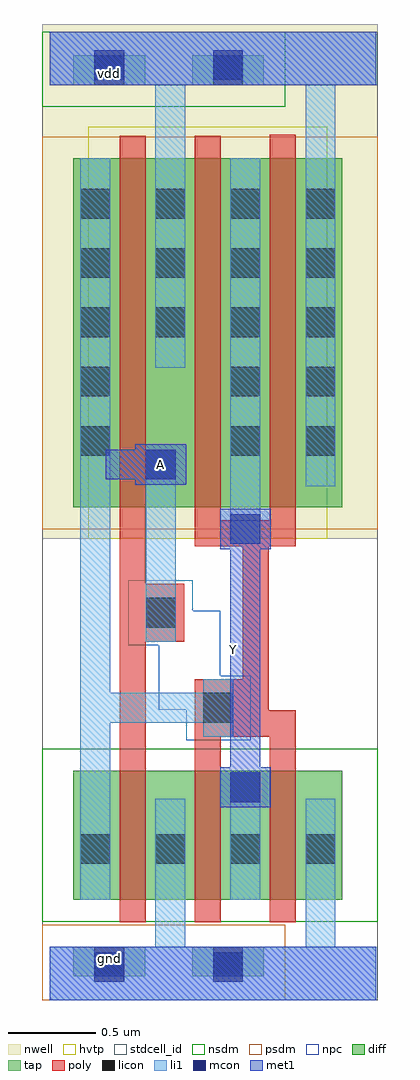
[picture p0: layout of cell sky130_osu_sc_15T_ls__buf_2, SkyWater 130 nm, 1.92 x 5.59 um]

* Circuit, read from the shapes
.subckt sky130_osu_sc_15T_ls__buf_2 A Y gnd vdd
XM1 gnd A n1 gnd sky130_fd_pr__nfet_01v8 w=0.74 l=0.15
XM2 Y n1 gnd gnd sky130_fd_pr__nfet_01v8 w=0.74 l=0.15 m=2
XM3 vdd A n1 vdd sky130_fd_pr__pfet_01v8_hvt w=2 l=0.15
XM4 Y n1 vdd vdd sky130_fd_pr__pfet_01v8_hvt w=2 l=0.15 m=2
.ends

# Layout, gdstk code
import gdstk
lib = gdstk.Library(unit=1e-6, precision=1e-09)
def R(c, l, rs):  # rectangles x0, y0, x1, y1
    for r in rs: c.add(gdstk.rectangle(r[:2], r[2:], *l))
def A(c, l, x, y, w, h, nx, ny, dx, dy):  # array of equal rectangles
    R(c, l, [(x+i*dx, y+j*dy, x+i*dx+w, y+j*dy+h) for i in range(nx) for j in range(ny)])
nwell = (64, 20)
diff = (65, 20)
tap = (65, 44)
poly = (66, 20)
licon = (66, 44)
li1 = (67, 20)
mcon = (67, 44)
met1 = (68, 20)
hvtp = (78, 44)
stdcell_id = (81, 4)
nsdm = (93, 44)
psdm = (94, 20)
npc = (95, 20)

sky130_osu_sc_15t_ls__bu = lib.new_cell('sky130_osu_sc_15T_ls__buf_2')
R(sky130_osu_sc_15t_ls__bu, nwell, [(-0.045,2.645,1.88,5.595)])
R(sky130_osu_sc_15t_ls__bu, diff, [(0.135,0.575,1.675,1.315), (0.135,2.825,1.675,4.825)])
R(sky130_osu_sc_15t_ls__bu, tap, [(0.135,0.135,0.545,0.305), (0.815,0.135,1.225,0.305), (0.135,5.245,0.545,5.415), (0.815,5.245,1.225,5.415)])
R(sky130_osu_sc_15t_ls__bu, poly, [(0.4,0.445,0.55,2.055), (0.83,0.445,0.98,1.51), (1.26,0.445,1.41,1.51), (0.83,1.51,1.41,1.66), (0.83,1.66,1.255,1.84), (1.105,1.84,1.255,2.6), (0.4,2.055,0.77,2.385), (0.4,2.385,0.55,4.955), (0.83,2.6,1.41,2.75), (0.83,2.75,0.98,4.955), (1.26,2.75,1.41,4.96)])
A(sky130_osu_sc_15t_ls__bu, licon, 0.175, 0.78, 0.17, 0.17, 4, 2, 0.43, 3.02)
A(sky130_osu_sc_15t_ls__bu, licon, 0.175, 4.14, 0.17, 0.17, 4, 2, 0.43, 0.34)
R(sky130_osu_sc_15t_ls__bu, licon, [(0.255,0.135,0.425,0.305), (0.935,0.135,1.105,0.305), (0.88,1.59,1.05,1.76), (0.55,2.135,0.72,2.305), (0.175,3.12,0.345,3.29), (1.035,3.12,1.205,3.29), (1.465,3.12,1.635,3.29), (0.175,3.46,0.345,3.63), (1.035,3.46,1.205,3.63), (1.465,3.46,1.635,3.63), (0.255,5.245,0.425,5.415), (0.935,5.245,1.105,5.415)])
R(sky130_osu_sc_15t_ls__bu, li1, [(0,0,1.87,0.305), (0.605,0.305,0.775,1.155), (1.465,0.305,1.635,1.155), (0.175,0.575,0.345,1.59), (1.035,0.575,1.205,1.305), (0.88,1.51,1.05,1.59), (0.175,1.59,1.05,1.76), (0.175,1.76,0.345,4.825), (0.88,1.76,1.05,1.84), (0.55,2.055,0.72,3.155), (1.035,2.615,1.205,4.825), (1.465,2.945,1.635,5.245), (0.605,3.625,0.775,5.245), (0,5.245,1.87,5.55)])
R(sky130_osu_sc_15t_ls__bu, mcon, [(0.255,0.105,0.425,0.275), (0.935,0.105,1.105,0.275), (1.035,1.135,1.205,1.305), (1.035,2.615,1.205,2.785), (0.55,2.985,0.72,3.155), (0.255,5.275,0.425,5.445), (0.935,5.275,1.105,5.445)])
R(sky130_osu_sc_15t_ls__bu, met1, [(0,0,1.87,0.305), (0.975,1.105,1.265,1.335), (1.035,1.335,1.205,2.585), (0.975,2.585,1.265,2.815), (0.49,2.955,0.78,2.985), (0.32,2.985,0.78,3.155), (0.49,3.155,0.78,3.185), (0,5.245,1.87,5.55)])
R(sky130_osu_sc_15t_ls__bu, hvtp, [(0.22,2.645,1.59,5.005)])
R(sky130_osu_sc_15t_ls__bu, stdcell_id, [(-0.045,0,1.88,5.55)])
R(sky130_osu_sc_15t_ls__bu, nsdm, [(-0.045,0.45,1.88,1.44), (-0.045,5.12,1.35,5.55)])
R(sky130_osu_sc_15t_ls__bu, psdm, [(-0.045,0,1.35,0.43), (-0.045,2.7,1.88,4.95)])
R(sky130_osu_sc_15t_ls__bu, npc, [(0.78,1.49,1.15,1.665), (0.625,1.665,1.15,1.86), (0.625,1.86,0.975,2.035), (0.45,2.035,0.975,2.23), (0.45,2.23,0.82,2.405)])
sky130_osu_sc_15t_ls__bu.add(gdstk.Label('gnd', (0.34,0.24), layer=68, texttype=16))
sky130_osu_sc_15t_ls__bu.add(gdstk.Label('vdd', (0.34,5.31), layer=68, texttype=16))
sky130_osu_sc_15t_ls__bu.add(gdstk.Label('A', (0.635,3.07), layer=68, texttype=5))
sky130_osu_sc_15t_ls__bu.add(gdstk.Label('Y', (1.055,2.01), layer=68, texttype=5))

lib.write_gds('sky130_osu_sc_15T_ls__buf_2.gds')
